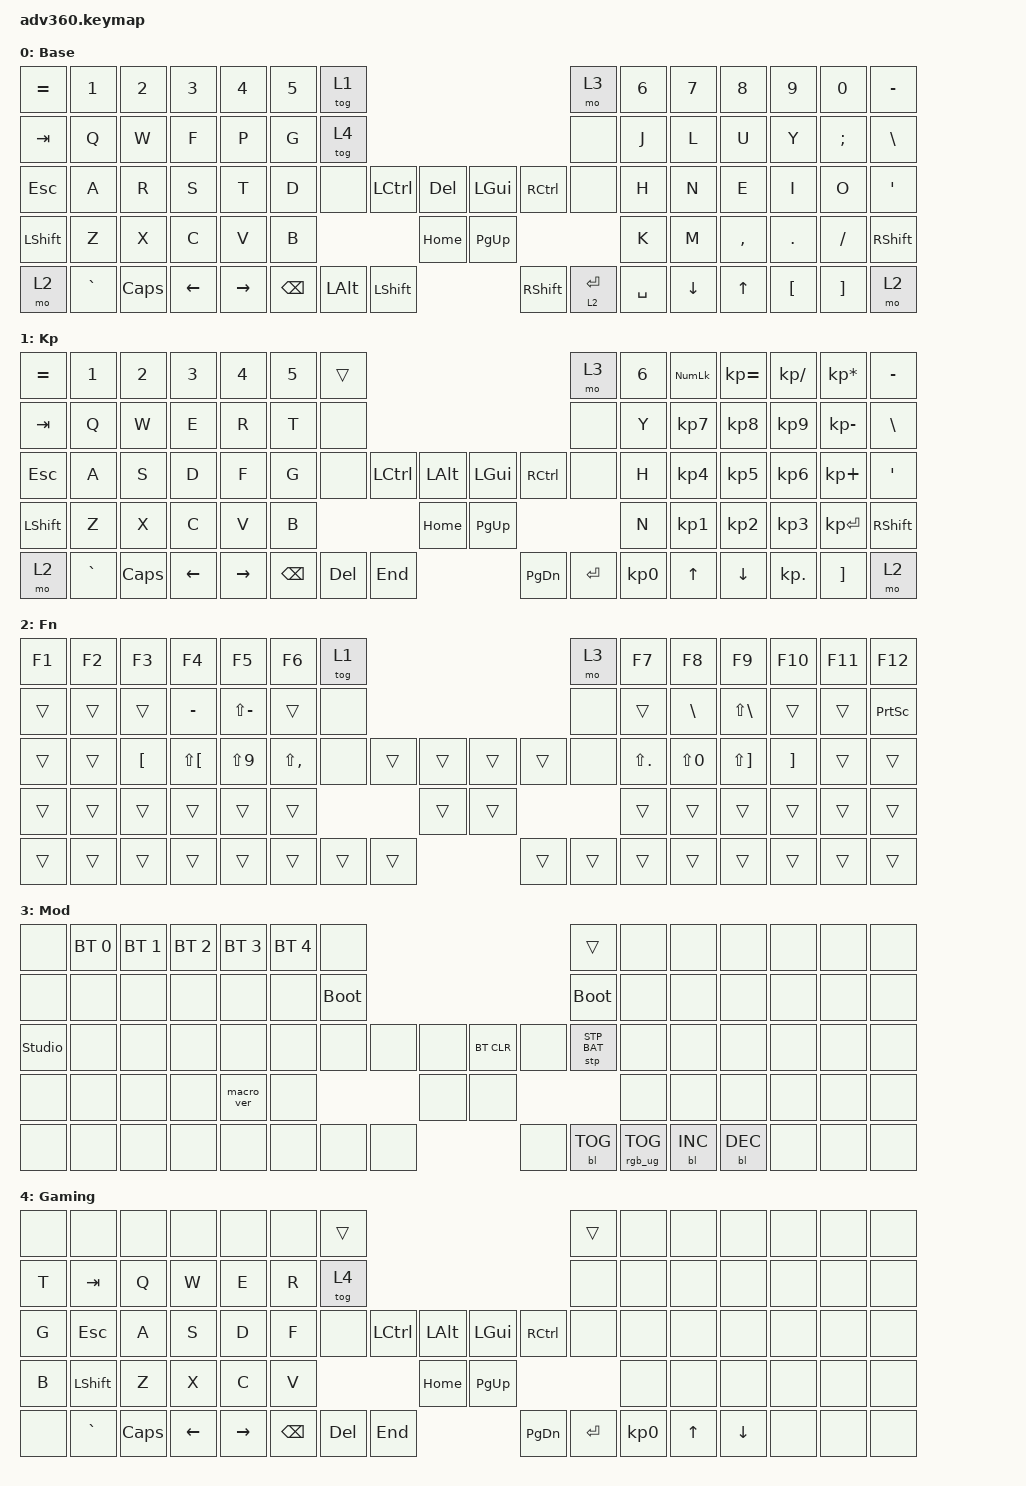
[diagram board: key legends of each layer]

/*
 * Copyright (c) 2020 The ZMK Contributors
 *
 * SPDX-License-Identifier: MIT
 */


/* THIS FILE WAS GENERATED!
 *
 * This file was generated automatically. You may or may not want to
 * edit it directly.
 */

#include <behaviors.dtsi>
#include <dt-bindings/zmk/keys.h>
#include <dt-bindings/zmk/bt.h>
#include <dt-bindings/zmk/rgb.h>
#include <dt-bindings/zmk/stp.h>
#include <dt-bindings/zmk/backlight.h>
#include <dt-bindings/zmk/pointing.h>

&lt {
    quick-tap-ms = <250>;
};

&lt {
    quick-tap-ms = <250>;
};

/ {
    behaviors {
      #include "macros.dtsi"
      #include "version.dtsi"

    hm: homerow_mods {
        compatible = "zmk,behavior-hold-tap";
        label = "HOMEROW_MODS";
        #binding-cells = <2>;
        tapping-term-ms = <200>;
        quick_tap_ms = <175>;
        flavor = "tap-preferred";
        bindings = <&kp>, <&kp>;
    };
  };

    keymap {
        compatible = "zmk,keymap";

    default_layer {
      display-name = "Base";
      bindings = <
        &kp EQUAL &kp N1    &kp N2   &kp N3   &kp N4    &kp N5 &tog 1                                                                             &mo 3 &kp N6 &kp N7   &kp N8    &kp N9   &kp N0   &kp MINUS
        &kp TAB   &kp Q     &kp W    &kp F    &kp P     &kp G  &tog 4                                                                              &none &kp J  &kp L    &kp U     &kp Y    &kp SEMI &kp BSLH
        &kp ESC   &kp A     &kp R    &kp S    &kp T     &kp D  &none  &kp LCTRL &kp DEL       &kp LGUI       &kp RCTRL                            &none &kp H  &kp N    &kp E     &kp I    &kp O    &kp SQT
        &kp LSHFT &kp Z     &kp X    &kp C    &kp V     &kp B                   &kp HOME      &kp PG_UP                                                 &kp K  &kp M    &kp COMMA &kp DOT  &kp FSLH &kp RSHFT
        &mo 2     &kp GRAVE &kp CAPS &kp LEFT &kp RIGHT               &kp BSPC  &kp LEFT_ALT  &kp LEFT_SHIFT &kp RIGHT_SHIFT &lt 2 ENTER  &kp SPACE              &kp DOWN &kp UP    &kp LBKT &kp RBKT &mo 2
      >;
    };
    keypad {
      display-name = "Kp";
      bindings = <
        &kp EQUAL &kp N1    &kp N2   &kp N3   &kp N4     &kp N5 &trans                                                           &mo 3 &kp N6 &kp KP_NUM &kp KP_EQUAL &kp KP_DIVIDE &kp KP_MULTIPLY &kp MINUS
        &kp TAB   &kp Q     &kp W    &kp E    &kp R      &kp T  &none                                                            &none &kp Y  &kp KP_N7  &kp KP_N8    &kp KP_N9     &kp KP_MINUS    &kp BSLH
        &kp ESC   &kp A     &kp S    &kp D    &kp F      &kp G  &none           &kp LCTRL &kp LALT &kp LGUI  &kp RCTRL           &none &kp H  &kp KP_N4  &kp KP_N5    &kp KP_N6     &kp KP_PLUS     &kp SQT
        &kp LSHFT &kp Z     &kp X    &kp C    &kp V      &kp B                            &kp HOME &kp PG_UP                           &kp N  &kp KP_N1  &kp KP_N2    &kp KP_N3     &kp KP_ENTER    &kp RSHFT
        &mo 2     &kp GRAVE &kp CAPS &kp LEFT &kp RIGHT                &kp BSPC &kp DEL   &kp END  &kp PG_DN &kp ENTER &kp KP_N0              &kp UP     &kp DOWN     &kp KP_DOT    &kp RBKT        &mo 2
      >;
    };
    fn {
      display-name = "Fn";
      bindings = <
        &kp F1 &kp F2 &kp F3 &kp F4 &kp F5 &kp F6 &tog 1                                                                &mo 3 &kp F7 &kp F8 &kp F9 &kp F10 &kp F11 &kp F12
        &trans &trans &trans &kp MINUS &kp LS(MINUS) &trans &none                                                       &none &trans  &kp BSLH  &kp LS(BSLH)   &trans   &trans  &kp PRINTSCREEN
        &trans &trans  &kp LBKT  &kp LS(LBKT)  &kp LS(N9)  &kp LS(COMMA) &none   &trans &trans &trans &trans            &none &kp LS(DOT)  &kp LS(N0)  &kp LS(RBKT)  &kp RBKT  &trans  &trans
        &trans &trans &trans &trans &trans &trans                                       &trans &trans                         &trans &trans &trans &trans  &trans  &trans
        &trans &trans &trans &trans &trans                                &trans &trans &trans &trans &trans &trans           &trans &trans &trans  &trans  &trans
      >;
    };
    mod {
      display-name = "Mod";
      bindings = <
        &none &bt BT_SEL 0 &bt BT_SEL 1 &bt BT_SEL 2 &bt BT_SEL 3 &bt BT_SEL 4 &none                                                                     &trans                 &none        &none        &none        &none &none &none
        &none &none        &none        &none        &none        &none        &bootloader                                                               &bootloader            &none        &none        &none        &none &none &none
        &studio_unlock &none        &none        &none        &none        &none        &none                   &none &none &bt BT_CLR &none                      &stp STP_BAT &none        &none        &none        &none &none &none
        &none &none        &none        &none        &macro_ver   &none                                      &none &none                                                        &none        &none        &none        &none &none &none
        &none &none        &none        &none        &none                                       &none &none &none &none      &bl BL_TOG &rgb_ug RGB_TOG                                     &bl BL_INC   &bl BL_DEC   &none &none &none
      >;
    };
    gaming {
      display-name = "Gaming";
      bindings = <
        &none     &none     &none    &none    &none      &none  &trans                                                           &trans &none  &none  &none    &none     &none    &none
        &kp T     &kp TAB   &kp Q     &kp W   &kp E      &kp R  &tog 4                                                           &none  &none  &none  &none    &none     &none    &none
        &kp G     &kp ESC   &kp A     &kp S   &kp D      &kp F  &none           &kp LCTRL &kp LALT &kp LGUI  &kp RCTRL           &none  &none  &none  &none    &none     &none    &none
        &kp B     &kp LSHFT &kp Z     &kp X   &kp C      &kp V                            &kp HOME &kp PG_UP                            &none  &none  &none    &none     &none    &none
        &none     &kp GRAVE &kp CAPS &kp LEFT &kp RIGHT                &kp BSPC &kp DEL   &kp END  &kp PG_DN &kp ENTER &kp KP_N0              &kp UP     &kp DOWN     &none     &none    &none
      >;
    };
    extra1 { 
      display-name = "Red";    
      status = "reserved";
    };

    extra2 { 
      display-name = "Purple";    
      status = "reserved";
    };

    extra3 { 
      display-name = "Cyan";    
      status = "reserved";
    };

    extra4 { 
      display-name = "Yellow";    
      status = "reserved";
    };
  };
};

